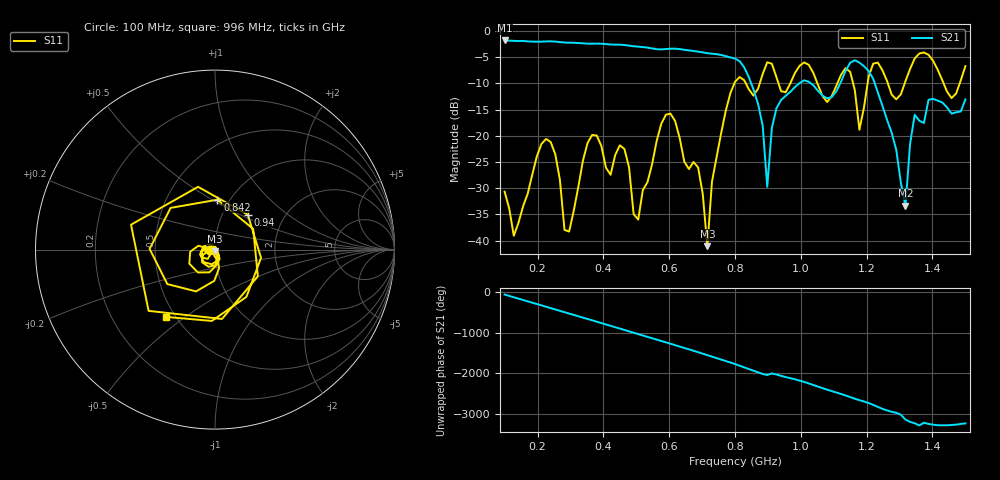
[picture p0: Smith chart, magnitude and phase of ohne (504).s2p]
! NanoVNA-App
! Date: 2025-09-25 14:24:43
! Start: 100MHz Stop: 1,5GHz Points: 101
! S-Parameter data: F S11 S21 S12 S22
# Hz S RI R 50
!  Frequency  S11_Real  S11_Imag  S21_Real  S21_Imag  S12_Real  S12_Imag  S22_Real  S22_Imag
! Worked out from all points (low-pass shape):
!   101 points, 100 MHz to 1.5 GHz, reference 50 ohm
!   highest |S21| = -1.79 dB at 100 MHz (marker M1); lowest = -33.3 dB at 1.318 GHz (marker M2)
!   |S21| within 3 dB of the highest: start of sweep to 771.9 MHz
!   lowest |S11| = -41.0 dB at 716 MHz (marker M3), VSWR 1.02, Z = 49.9 - j0.874 ohm
!   |S11| at or under -10 dB: start of sweep to 798 MHz; 833 MHz to 875.1 MHz (42.08 MHz wide, 4.93 % of centre); 1.05 GHz to 1.111 GHz (60.47 MHz wide, 5.6 % of centre) (the widest 3 of 7)
!   S12 and S22 are empty: the file has one direction only
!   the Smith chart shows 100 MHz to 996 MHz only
!   S11 on the Smith chart (normalised r, x): 100 MHz: 0.94, -0.01; 842 MHz: 0.88, +0.53; 940 MHz: 1.31, +0.55; 996 MHz: 0.44, -0.42
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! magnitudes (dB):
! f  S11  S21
! 100 MHz  -30.6  -1.8
! 128 MHz  -39.1  -1.9
! 226 MHz  -20.6  -2.0
! 296 MHz  -38.3  -2.2
! 338 MHz  -24.7  -2.3
! 464 MHz  -22.5  -2.7
! 506 MHz  -36.0  -3.0
! 576 MHz  -17.7  -3.5
! 688 MHz  -26.0  -3.9
! 716 MHz  -41.0  -4.2
! 800 MHz  -9.7  -5.2
! 842 MHz  -11.1  -8.8
! 898 MHz  -6.0  -29.7
! 940 MHz  -11.5  -13.2
! 996 MHz  -6.7  -9.9
! 1.038 GHz  -8.0  -10.3
! 1.178 GHz  -18.8  -6.0
! 1.22 GHz  -6.2  -9.1
! 1.276 GHz  -12.1  -19.4
! 1.318 GHz  -9.5  -33.3
! 1.346 GHz  -5.2  -16.0
! 1.5 GHz  -6.7  -13.0
